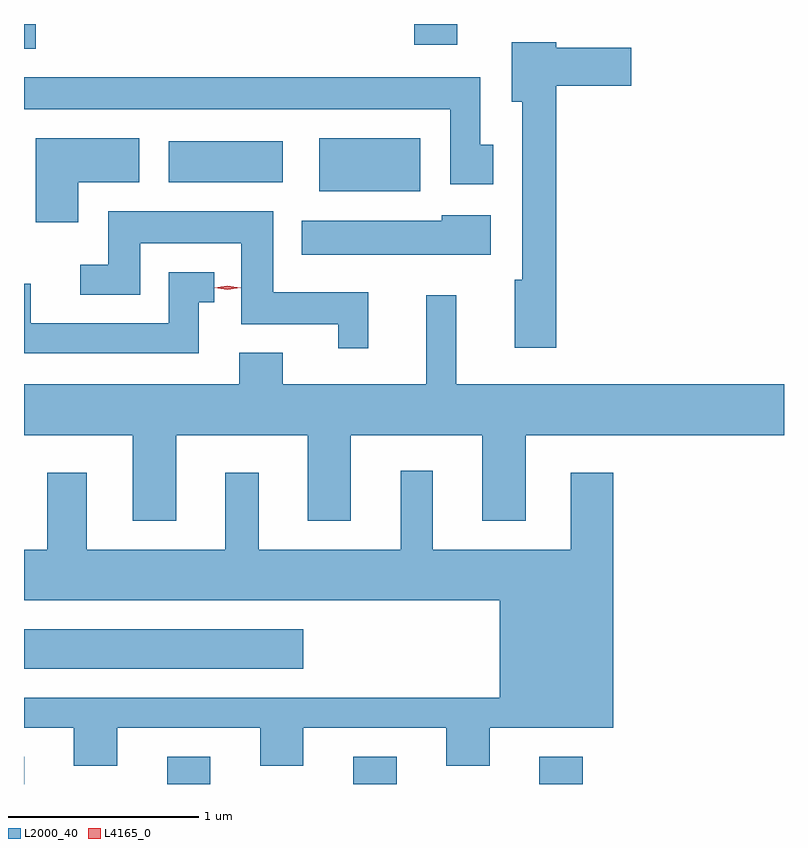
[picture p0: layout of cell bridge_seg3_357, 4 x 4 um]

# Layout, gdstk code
import gdstk
lib = gdstk.Library(unit=1e-6, precision=1e-09)
def R(c, l, rs):  # rectangles x0, y0, x1, y1
    for r in rs: c.add(gdstk.rectangle(r[:2], r[2:], *l))
def A(c, l, x, y, w, h, nx, ny, dx, dy):  # array of equal rectangles
    R(c, l, [(x+i*dx, y+j*dy, x+i*dx+w, y+j*dy+h) for i in range(nx) for j in range(ny)])
def P(c, l, *ps):  # polygons
    for p in ps: c.add(gdstk.Polygon(p, *l))
L2000_40 = (2000, 40)
L4165_0 = (4165, 0)

bridge_seg3_357 = lib.new_cell('bridge_seg3_357')
A(bridge_seg3_357, L2000_40, 680.021, 1219.64, 0.228, 0.144, 3, 1, 0.98, 0)
R(bridge_seg3_357, L2000_40, [(679.268,1219.64,679.269,1219.784), (679.268,1220.246,680.739,1220.454), (680.821,1222.761,681.354,1223.039), (680.031,1222.806,680.629,1223.024), (679.268,1223.511,679.329,1223.64), (681.321,1223.531,681.549,1223.64)])
P(bridge_seg3_357, L2000_40, [(682.069,1223.316),(682.464,1223.316),(682.464,1223.514),(682.069,1223.514),(682.069,1223.544),(681.836,1223.544),(681.836,1223.231),(681.891,1223.231),(681.891,1222.294),(681.851,1222.294),(681.851,1221.936),(682.069,1221.936)],
  [(681.739,1223.004),(681.669,1223.004),(681.669,1223.359),(679.268,1223.359),(679.268,1223.191),(681.511,1223.191),(681.511,1222.796),(681.739,1222.796)],
  [(679.554,1222.806),(679.874,1222.806),(679.874,1223.039),(679.331,1223.039),(679.331,1222.596),(679.554,1222.596)],
  [(681.079,1222.229),(680.579,1222.229),(680.579,1222.654),(679.711,1222.654),(679.711,1222.374),(679.563,1222.374),(679.563,1222.216),(679.879,1222.216),(679.879,1222.486),(680.411,1222.486),(680.411,1222.061),(680.921,1222.061),(680.921,1221.933),(681.079,1221.933)],
  [(681.724,1222.634),(681.466,1222.634),(681.466,1222.604),(680.731,1222.604),(680.731,1222.426),(681.724,1222.426)],
  [(680.189,1222.176),(680.268,1222.176),(680.268,1222.334),(680.031,1222.334),(680.031,1222.064),(679.304,1222.064),(679.304,1222.273),(679.268,1222.273),(679.268,1221.906),(680.189,1221.906)],
  [(680.069,1221.476),(680.761,1221.476),(680.761,1221.026),(680.989,1221.026),(680.989,1221.476),(681.681,1221.476),(681.681,1221.026),(681.909,1221.026),(681.909,1221.476),(683.268,1221.476),(683.268,1221.744),(681.544,1221.744),(681.544,1222.213),(681.386,1222.213),(681.386,1221.744),(680.629,1221.744),(680.629,1221.909),(680.401,1221.909),(680.401,1221.744),(679.268,1221.744),(679.268,1221.476),(679.841,1221.476),(679.841,1221.026),(680.069,1221.026)],
  [(679.759,1219.936),(680.511,1219.936),(680.511,1219.736),(680.739,1219.736),(680.739,1219.936),(681.491,1219.936),(681.491,1219.736),(681.719,1219.736),(681.719,1219.936),(682.369,1219.936),(682.369,1221.279),(682.146,1221.279),(682.146,1220.874),(681.419,1220.874),(681.419,1221.288),(681.251,1221.288),(681.251,1220.874),(680.504,1220.874),(680.504,1221.279),(680.326,1221.279),(680.326,1220.874),(679.599,1220.874),(679.599,1221.279),(679.391,1221.279),(679.391,1220.874),(679.268,1220.874),(679.268,1220.606),(681.771,1220.606),(681.771,1220.094),(679.268,1220.094),(679.268,1219.936),(679.531,1219.936),(679.531,1219.736),(679.759,1219.736)])
P(bridge_seg3_357, L4165_0, [(680.338,1222.242),(680.269,1222.252),(680.269,1222.252),(680.269,1222.252),(680.338,1222.262),(680.408,1222.253),(680.408,1222.253),(680.408,1222.252)])

lib.write_gds('bridge_seg3_357.gds')
